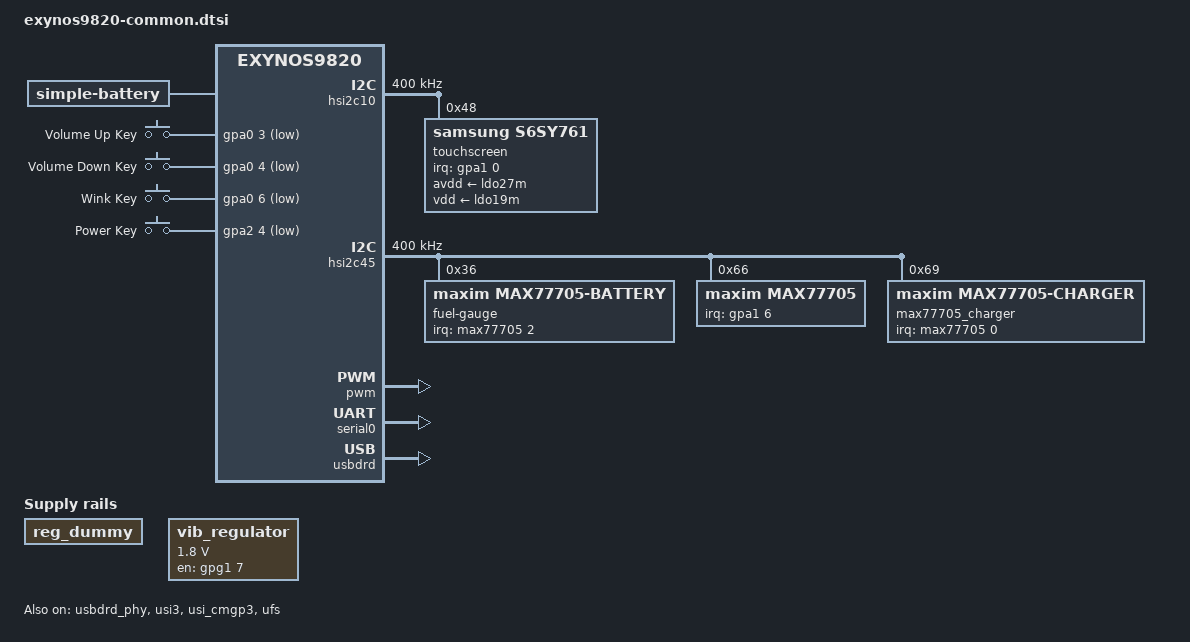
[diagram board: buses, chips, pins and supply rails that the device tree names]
// SPDX-License-Identifier: GPL-2.0 OR BSD-3-Clause
/*
 * Device tree source common to beyond EXYNOS9820 devices
 *
 * Copyright (c) 2026 chiffathefox <chiffathefoxx@gmail.com>
 */

/dts-v1/;
#include "exynos9820.dtsi"
#include <dt-bindings/gpio/gpio.h>
#include <dt-bindings/input/input.h>
#include <dt-bindings/soc/samsung,exynos-usi.h>

/ {
	battery: battery {
		compatible = "simple-battery";
		over-voltage-threshold-microvolt = <4500000>;
		voltage-min-design-microvolt = <3480000>;
		voltage-max-design-microvolt = <4350000>;
	};

	chosen {
		#address-cells = <2>;
		#size-cells = <1>;
		ranges;
		stdout-path = &serial0;
	};

	gpio-keys {
		compatible = "gpio-keys";

		pinctrl-0 = <&key_volup &key_voldown &key_wink &key_power>;
		pinctrl-names = "default";

		key-volup {
			label = "Volume Up Key";
			linux,code = <KEY_VOLUMEUP>;
			gpios = <&gpa0 3 GPIO_ACTIVE_LOW>;
		};

		key-voldown {
			label = "Volume Down Key";
			linux,code = <KEY_VOLUMEDOWN>;
			gpios = <&gpa0 4 GPIO_ACTIVE_LOW>;
		};

		key-wink {
			label = "Wink Key";
			linux,code = <KEY_COFFEE>;
			gpios = <&gpa0 6 GPIO_ACTIVE_LOW>;
		};

		key-power {
			label = "Power Key";
			linux,code = <KEY_POWER>;
			gpios = <&gpa2 4 GPIO_ACTIVE_LOW>;
			wakeup-source;
		};
	};

	reserved-memory {
		#address-cells = <2>;
		#size-cells = <1>;
		ranges;

		sec_debug_magic@80000000 {
			reg = <0x0 0x80000000 0x1000>;
			no-map;
		};

		kaslr_seed@80001000 {
			reg = <0x0 0x80001000 0x1000>;
			no-map;
		};

		el2_code@87000000 {
			reg = <0x0 0x87000000 0x200000>;
			no-map;
		};

		mm_debug@91200000 {
			reg = <0x0 0x91200000 0x1000>;
			no-map;
		};

		secure_camera@96000000 {
			reg = <0x0 0x96000000 0x2200000>;
			no-map;
		};

		seclog_mem@c0000000 {
			reg = <0x0 0xc0000000 0x80000>;
			no-map;
		};

		/* S-Boot's scanout buffer, mapped 1:1 for DECON's SysMMU */
		fb_region: framebuffer_region@ca000000 {
			reg = <0x0 0xca000000 (1440 * 3040 * 4)>;
			iommu-addresses = <&decon 0xca000000 (1440 * 3040 * 4)>;
			no-map;
		};

		modem_spare@d0000000 {
			reg = <0x0 0xd0000000 0x1600000>;
			no-map;
		};

		modem_if: modem_if@f0000000 {
			reg = <0x0 0xf0000000 0xb900000>;
			no-map;
		};

		cp_ram_logging@fb900000 {
			reg = <0x0 0xfb900000 0x2000000>;
			no-map;
		};

		el2_earlymem@9fd800000 {
			reg = <0x9 0xfd800000 0x2800000>;
			no-map;
		};
	};

	/* TODO: Implement PMIC */
	reg_dummy: regulator-0 {
		compatible = "regulator-fixed";
		regulator-name = "dummy_reg";
	};

	vib_regulator: gpio-regulator {
		compatible = "regulator-fixed";

		regulator-name = "haptic";
		regulator-min-microvolt = <1800000>;
		regulator-max-microvolt = <1800000>;

		gpio = <&gpg1 7 GPIO_ACTIVE_HIGH>;
		enable-active-high;

		regulator-boot-on;
	};
};

&acpm_ipc {
	pmic-1 {
		compatible = "samsung,s2mps19-pmic";
		interrupts-extended = <&gpa0 1 IRQ_TYPE_LEVEL_LOW>;
		wakeup-source;

		regulators {
			ldo19m: ldo19m {
				regulator-name = "tsp_io";
				regulator-min-microvolt = <1800000>;
				regulator-max-microvolt = <1800000>;
				regulator-boot-on;
			};

			ldo27m: ldo27m {
				regulator-name = "tsp_avdd";
				regulator-min-microvolt = <3000000>;
				regulator-max-microvolt = <3000000>;
				regulator-boot-on;
			};
		};
	};
};

&hsi2c10 {
	clock-frequency = <400000>;
	status = "okay";

	touchscreen@48 {
		compatible = "samsung,s6sy761";
		reg = <0x48>;

		avdd-supply = <&ldo27m>;
		vdd-supply = <&ldo19m>;

		interrupts-extended = <&gpa1 0 IRQ_TYPE_LEVEL_LOW>;

		pinctrl-0 = <&ts_int>;
		pinctrl-names = "default";
	};
};

&hsi2c45 {
	clock-frequency = <400000>;
	status = "okay";

	fuel-gauge@36 {
		reg = <0x36>;
		compatible = "maxim,max77705-battery";
		power-supplies = <&max77705_charger>;
		maxim,rsns-microohm = <5000>;
		interrupt-parent = <&max77705>;
		interrupts = <2>;
	};

	max77705: pmic@66 {
		compatible = "maxim,max77705";
		reg = <0x66>;

		interrupts-extended = <&gpa1 6 IRQ_TYPE_LEVEL_LOW>;
		interrupt-controller;
		#interrupt-cells = <1>;

		pinctrl-0 = <&pmic_int>;
		pinctrl-names = "default";

		haptic {
			compatible = "maxim,max77705-haptic";
			haptic-supply = <&vib_regulator>;
			pwms = <&pwm 1 48828 0>;
		};
	};

	max77705_charger: charger@69 {
		reg = <0x69>;
		compatible = "maxim,max77705-charger";
		monitored-battery = <&battery>;
		interrupt-parent = <&max77705>;
		interrupts = <0>;
	};
};

&oscclk {
	clock-frequency = <26000000>;
};

&pinctrl_alive {
	key_volup: key-volup-pins {
		samsung,pins = "gpa0-3";
		samsung,pin-function = <EXYNOS_PIN_FUNC_EINT>;
		samsung,pin-pud = <EXYNOS_PIN_PULL_NONE>;
		samsung,pin-drv = <EXYNOS5433_PIN_DRV_FAST_SR1>;
	};

	key_voldown: key-voldown-pins {
		samsung,pins = "gpa0-4";
		samsung,pin-function = <EXYNOS_PIN_FUNC_EINT>;
		samsung,pin-pud = <EXYNOS_PIN_PULL_NONE>;
		samsung,pin-drv = <EXYNOS5433_PIN_DRV_FAST_SR1>;
	};

	key_wink: key-wink-pins {
		samsung,pins = "gpa0-6";
		samsung,pin-function = <EXYNOS_PIN_FUNC_EINT>;
		samsung,pin-pud = <EXYNOS_PIN_PULL_NONE>;
		samsung,pin-drv = <EXYNOS5433_PIN_DRV_FAST_SR1>;
	};

	key_power: key-power-pins {
		samsung,pins = "gpa2-4";
		samsung,pin-function = <EXYNOS_PIN_FUNC_EINT>;
		samsung,pin-pud = <EXYNOS_PIN_PULL_NONE>;
		samsung,pin-drv = <EXYNOS5433_PIN_DRV_FAST_SR1>;
	};

	pmic_int: pmic-int {
		samsung,pins = "gpa1-6";
		samsung,pin-function = <EXYNOS_PIN_FUNC_EINT>;
		samsung,pin-pud = <EXYNOS_PIN_PULL_NONE>;
		samsung,pin-drv = <EXYNOS7_PIN_DRV_LV1>;
	};

	ts_int: ts-int-pins {
		samsung,pins = "gpa1-0";
		samsung,pin-function = <EXYNOS_PIN_FUNC_EINT>;
		samsung,pin-pud = <EXYNOS_PIN_PULL_NONE>;
		samsung,pin-drv = <EXYNOS7_PIN_DRV_LV1>;
	};
};

&pwm {
	status = "okay";
};

&serial0 {
	status = "okay";
};

&usbdrd_phy {
	status = "okay";
};

&usbdrd {
	status = "okay";
	vdd10-supply = <&reg_dummy>;
	vdd33-supply = <&reg_dummy>;
};

&usi3 {
	status = "okay";
	samsung,mode = <USI_MODE_I2C>;
};

&usi_cmgp3 {
	status = "okay";
	samsung,mode = <USI_MODE_I2C>;
};

&ufs {
	status = "okay";
};
